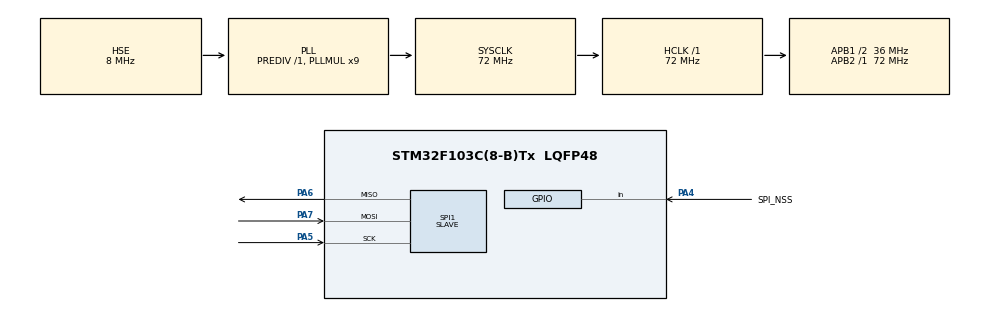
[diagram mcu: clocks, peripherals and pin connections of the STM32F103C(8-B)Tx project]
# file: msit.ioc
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Mcu.Family=STM32F1
Mcu.Name=STM32F103C(8-B)Tx
Mcu.Package=LQFP48
NVIC.PriorityGroup=NVIC_PRIORITYGROUP_4
NVIC.SPI1_IRQn=true\:0\:0\:false\:false\:true\:true\:true\:true
PA13.Mode=Serial_Wire
PA13.Signal=SYS_JTMS-SWDIO
PA14.Mode=Serial_Wire
PA14.Signal=SYS_JTCK-SWCLK
PA4.GPIO_Label=SPI_NSS
PA4.Signal=GPIO_Input
PA5.Mode=Full_Duplex_Slave
PA5.Signal=SPI1_SCK
PA6.Mode=Full_Duplex_Slave
PA6.Signal=SPI1_MISO
PA7.Mode=Full_Duplex_Slave
PA7.Signal=SPI1_MOSI
PD0-OSC_IN.Mode=HSE-External-Oscillator
PD0-OSC_IN.Signal=RCC_OSC_IN
PD1-OSC_OUT.Mode=HSE-External-Oscillator
PD1-OSC_OUT.Signal=RCC_OSC_OUT
ProjectManager.HeapSize=0x200
ProjectManager.StackSize=0x400
ProjectManager.TargetToolchain=STM32CubeIDE
RCC.AHBFreq_Value=72000000
RCC.APB1CLKDivider=RCC_HCLK_DIV2
RCC.APB1Freq_Value=36000000
RCC.APB1TimFreq_Value=72000000
RCC.APB2Freq_Value=72000000
RCC.APB2TimFreq_Value=72000000
RCC.HCLKFreq_Value=72000000
RCC.PLLMUL=RCC_PLL_MUL9
RCC.PLLSourceVirtual=RCC_PLLSOURCE_HSE
RCC.SYSCLKFreq_VALUE=72000000
RCC.SYSCLKSource=RCC_SYSCLKSOURCE_PLLCLK
RCC.USBFreq_Value=72000000
SPI1.Direction=SPI_DIRECTION_2LINES
SPI1.Mode=SPI_MODE_SLAVE
SPI1.VirtualType=VM_SLAVE
VP_CRC_VS_CRC.Mode=CRC_Activate
board=custom

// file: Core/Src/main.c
/* USER CODE BEGIN Header */
/**
 ******************************************************************************
 * @file           : main.c
 * @brief          : Main program body
 ******************************************************************************
 * @attention
 *
 * Copyright (c) 2023 STMicroelectronics.
 * All rights reserved.
 *
 * This software is licensed under terms that can be found in the LICENSE file
 * in the root directory of this software component.
 * If no LICENSE file comes with this software, it is provided AS-IS.
 *
 ******************************************************************************
 */
/* USER CODE END Header */
#include "main.h"

/* USER CODE BEGIN Includes */
#include "math.h"
#include "string.h"
#include "stdlib.h"
/* USER CODE END Includes */

CRC_HandleTypeDef hcrc;

SPI_HandleTypeDef hspi1;

/* USER CODE BEGIN PV */
//int32_t spi_buffer_transmit, spi_buffer_receive, counter;
//int32_t send;
int32_t transmit[6], receive[6];
uint32_t counter;
/* USER CODE END PV */

void SystemClock_Config(void);
static void MX_GPIO_Init(void);
static void MX_SPI1_Init(void);
static void MX_CRC_Init(void);

int main(void) {

	/* MCU Configuration--------------------------------------------------------*/

	/* Reset of all peripherals, Initializes the Flash interface and the Systick. */
	HAL_Init();

	/* Configure the system clock */
	SystemClock_Config();

	/* Initialize all configured peripherals */
	MX_GPIO_Init();
	MX_SPI1_Init();
	MX_CRC_Init();

	/* Infinite loop */
	/* USER CODE BEGIN WHILE */
	while (1) {
//		spi_buffer_transmit = 390;
//		counter++;
//		if (counter > 500) {
//			HAL_SPI_TransmitReceive_IT(&hspi1,
//					(uint8_t*) (&spi_buffer_transmit),
//					(uint8_t*) (&spi_buffer_receive), 4);
//		}
		transmit[0] = 0xAAA;
		transmit[1] = 0xBBB;
		transmit[2] = 0xCCC;
		transmit[3] = 0xDDD;
		transmit[4] = 50 + rand()%10;
		transmit[5] = 60 + rand()%10;

		if (HAL_GPIO_ReadPin(SPI_NSS_GPIO_Port, SPI_NSS_Pin) == 1) {
			HAL_SPI_TransmitReceive_IT(&hspi1, (uint8_t*) (transmit),
					(uint8_t*) (receive), 24);
			while (HAL_GPIO_ReadPin(SPI_NSS_GPIO_Port, SPI_NSS_Pin) == 1) {

			}
			HAL_SPI_Abort(&hspi1);
		}
//		if (HAL_GPIO_ReadPin(SPI_NSS_GPIO_Port, SPI_NSS_Pin) == 1){
//			HAL_SPI_TransmitReceive(&hspi1, (uint8_t*) (transmit),
//					(uint8_t*) (receive), 24);
//		}
//		if (HAL_GPIO_ReadPin(SPI_NSS_GPIO_Port, SPI_NSS_Pin) == 0){
//			HAL_SPI_Abort(&hspi1);
//		}
//		if (SPI2->SR & SPI_SR_TXE){
//			HAL_SPI_TransmitReceive_IT(&hspi1, (uint8_t*) (transmit),
//					(uint8_t*) (receive), 24);
//		}
////		if (counter > 900) {
//			HAL_SPI_TransmitReceive_IT(&hspi1,
//					(uint8_t*) (transmit),
//					(uint8_t*) (receive), 24);
//		}
//		HAL_SPI_TransmitReceive_IT(&hspi1,
//						(uint8_t*) (transmit),
//						(uint8_t*) (receive), 24);

		/* USER CODE END WHILE */

	}
}

void SystemClock_Config(void) {
	RCC_OscInitTypeDef RCC_OscInitStruct = { 0 };
	RCC_ClkInitTypeDef RCC_ClkInitStruct = { 0 };

	/** Initializes the RCC Oscillators according to the specified parameters
	 * in the RCC_OscInitTypeDef structure.
	 */
	RCC_OscInitStruct.OscillatorType = RCC_OSCILLATORTYPE_HSE;
	RCC_OscInitStruct.HSEState = RCC_HSE_ON;
	RCC_OscInitStruct.HSEPredivValue = RCC_HSE_PREDIV_DIV1;
	RCC_OscInitStruct.HSIState = RCC_HSI_ON;
	RCC_OscInitStruct.PLL.PLLState = RCC_PLL_ON;
	RCC_OscInitStruct.PLL.PLLSource = RCC_PLLSOURCE_HSE;
	RCC_OscInitStruct.PLL.PLLMUL = RCC_PLL_MUL9;
	if (HAL_RCC_OscConfig(&RCC_OscInitStruct) != HAL_OK) {
		Error_Handler();
	}

	/** Initializes the CPU, AHB and APB buses clocks
	 */
	RCC_ClkInitStruct.ClockType = RCC_CLOCKTYPE_HCLK | RCC_CLOCKTYPE_SYSCLK
			| RCC_CLOCKTYPE_PCLK1 | RCC_CLOCKTYPE_PCLK2;
	RCC_ClkInitStruct.SYSCLKSource = RCC_SYSCLKSOURCE_PLLCLK;
	RCC_ClkInitStruct.AHBCLKDivider = RCC_SYSCLK_DIV1;
	RCC_ClkInitStruct.APB1CLKDivider = RCC_HCLK_DIV2;
	RCC_ClkInitStruct.APB2CLKDivider = RCC_HCLK_DIV1;

	if (HAL_RCC_ClockConfig(&RCC_ClkInitStruct, FLASH_LATENCY_2) != HAL_OK) {
		Error_Handler();
	}
}

static void MX_CRC_Init(void) {

	hcrc.Instance = CRC;
	if (HAL_CRC_Init(&hcrc) != HAL_OK) {
		Error_Handler();
	}

}

static void MX_SPI1_Init(void) {

	/* SPI1 parameter configuration*/
	hspi1.Instance = SPI1;
	hspi1.Init.Mode = SPI_MODE_SLAVE;
	hspi1.Init.Direction = SPI_DIRECTION_2LINES;
	hspi1.Init.DataSize = SPI_DATASIZE_8BIT;
	hspi1.Init.CLKPolarity = SPI_POLARITY_LOW;
	hspi1.Init.CLKPhase = SPI_PHASE_1EDGE;
	hspi1.Init.NSS = SPI_NSS_SOFT;
	hspi1.Init.FirstBit = SPI_FIRSTBIT_MSB;
	hspi1.Init.TIMode = SPI_TIMODE_DISABLE;
	hspi1.Init.CRCCalculation = SPI_CRCCALCULATION_ENABLE;
	hspi1.Init.CRCPolynomial = 10;
	if (HAL_SPI_Init(&hspi1) != HAL_OK) {
		Error_Handler();
	}

}

static void MX_GPIO_Init(void) {
	GPIO_InitTypeDef GPIO_InitStruct = { 0 };

	/* GPIO Ports Clock Enable */
	__HAL_RCC_GPIOD_CLK_ENABLE();
	__HAL_RCC_GPIOA_CLK_ENABLE();

	/*Configure GPIO pin : SPI_NSS_Pin */
	GPIO_InitStruct.Pin = SPI_NSS_Pin;
	GPIO_InitStruct.Mode = GPIO_MODE_INPUT;
	GPIO_InitStruct.Pull = GPIO_NOPULL;
	HAL_GPIO_Init(SPI_NSS_GPIO_Port, &GPIO_InitStruct);

}

void Error_Handler(void) {
	__disable_irq();
	while (1) {
	}
}
